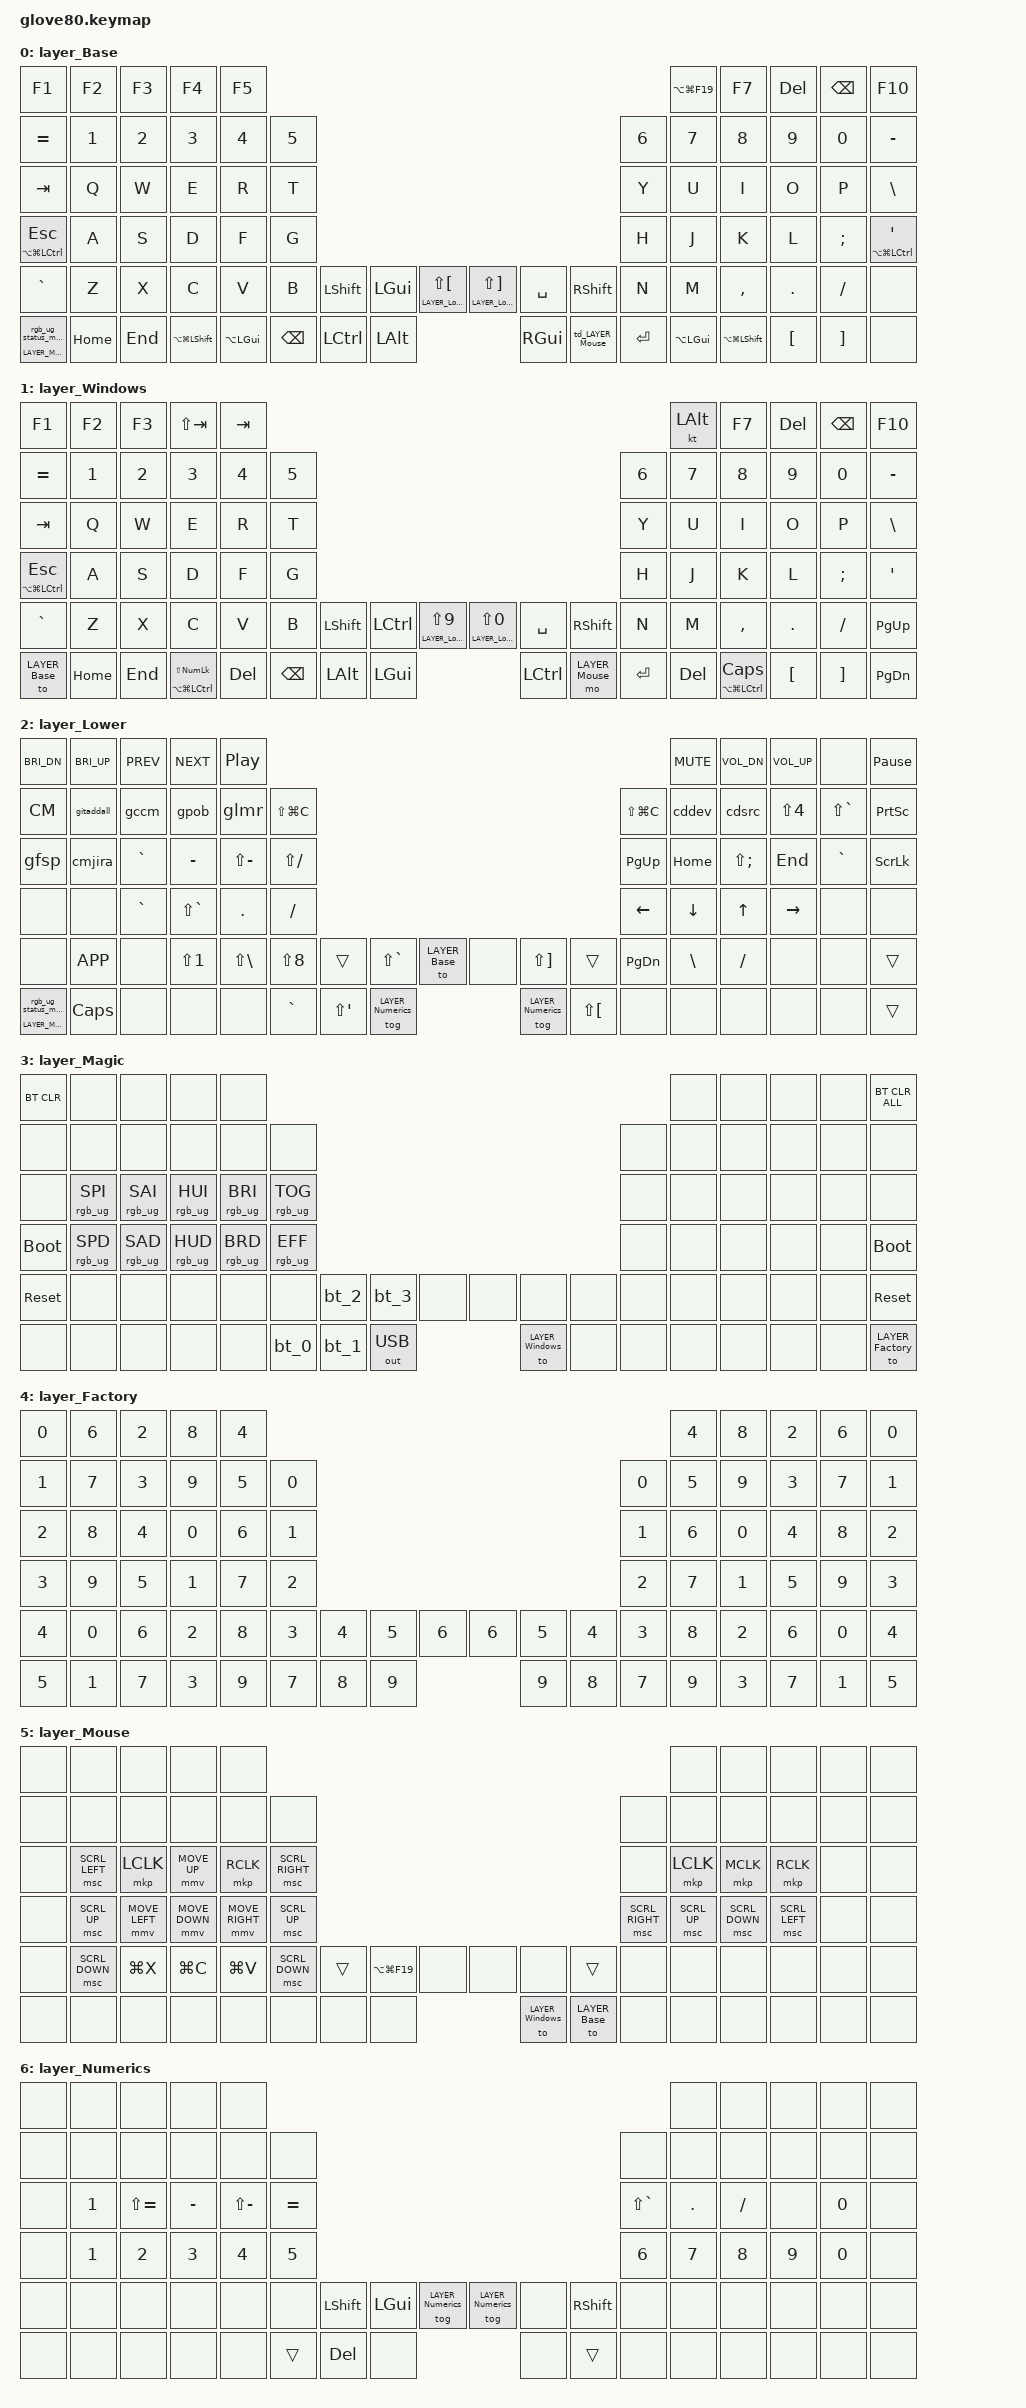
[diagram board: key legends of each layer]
/*
 * Copyright (c) 2020 The ZMK Contributors
 * Copyright (c) 2023 Innaworks Development Limited, trading as MoErgo
 *
 * SPDX-License-Identifier: MIT
 */

/* THIS FILE WAS GENERATED BY GLOVE80 LAYOUT EDITOR
 *
 * This file was generated automatically. You may or may not want to
 * edit it directly.
 */

#include <behaviors.dtsi>
/* Include all behavior includes needed */
#include <dt-bindings/zmk/outputs.h>
#include <dt-bindings/zmk/keys.h>
#include <dt-bindings/zmk/bt.h>
#include <dt-bindings/zmk/rgb.h>

#include <dt-bindings/zmk/rgb_colors.h>
/* On demand includes */
#include <dt-bindings/zmk/pointing.h>

// Preprocessor mechanism to overload macros, cf. https://stackoverflow.com/a/27051616/6114651
#define VARGS_(_10, _9, _8, _7, _6, _5, _4, _3, _2, _1, N, ...) N
#define VARGS(...) VARGS_(__VA_ARGS__, 10, 9, 8, 7, 6, 5, 4, 3, 2, 1, 0)
#define CONCAT_(a, b) a##b
#define CONCAT(a, b) CONCAT_(a, b)

#define ZMK_BEHAVIOR_CORE_tap_dance  \
    compatible = "zmk,behavior-tap-dance"; \
    #binding-cells = <0>

#define ZMK_BEHAVIOR(name, type, ...) \
    name: name { \
        ZMK_BEHAVIOR_CORE_ ## type; \
        __VA_ARGS__ \
    };

#define ZMK_TAP_DANCE(name, ...) \
    ZMK_BEHAVIOR(name, tap_dance, __VA_ARGS__)

#define ZMK_TD_LAYER(name, layer) \
    ZMK_TAP_DANCE(name, \
        tapping-term-ms = <200>; \
        bindings = <&mo layer>, <&to layer>; \
)

/* Environment and metadata defines */
#define KB_TYPE_GLOVE_80 1
#define KB_TYPE_GO_60    2

#define KB_TYPE          KB_TYPE_GLOVE_80
#define EDITOR_HOST_OS   'M'

/* Automatically generated layer name #define */
#define LAYER_Base 0
#define LAYER_Windows 1
#define LAYER_Lower 2
#define LAYER_Magic 3
#define LAYER_Factory 4
#define LAYER_Mouse 5
#define LAYER_Numerics 6

/* To deal with the situation where there is no Lower layer, to keep &lower happy */
#ifndef LAYER_Lower
#define LAYER_Lower 0
#endif

/* Custom Device-tree */
/* Empty underglow layer definition (for copy-paste)
        mylayer {
            bindings = <
                &ug ___ &ug ___ &ug ___ &ug ___ &ug ___                                                                  &ug ___ &ug ___ &ug ___ &ug ___ &ug ___
                &ug ___ &ug ___ &ug ___ &ug ___ &ug ___ &ug ___                                                  &ug ___ &ug ___ &ug ___ &ug ___ &ug ___ &ug ___
                &ug ___ &ug ___ &ug ___ &ug ___ &ug ___ &ug ___                                                  &ug ___ &ug ___ &ug ___ &ug ___ &ug ___ &ug ___
                &ug ___ &ug ___ &ug ___ &ug ___ &ug ___ &ug ___                                                  &ug ___ &ug ___ &ug ___ &ug ___ &ug ___ &ug ___
                &ug ___ &ug ___ &ug ___ &ug ___ &ug ___ &ug ___ &ug ___ &ug ___ &ug ___  &ug ___ &ug ___ &ug ___ &ug ___ &ug ___ &ug ___ &ug ___ &ug ___ &ug ___
                &ug ___ &ug ___ &ug ___ &ug ___ &ug ___         &ug ___ &ug ___ &ug ___  &ug ___ &ug ___ &ug ___         &ug ___ &ug ___ &ug ___ &ug ___ &ug ___
                >;
            layer-id = <LAYER_Name>;
        };
*/

#define LBAT &uglowbat 0x800000 BLACK // #800000
#define BAT1 &ug_b2 BLACK 0x804d00 // #808000
#define BAT2 &ug_b4 BLACK 0x808000 // #804d00
#define BAT3 &ug_b6 BLACK 0x008000 // #008000
#define BAT4 &ug_b8 BLACK 0xafafaf // #afafaf
#define CAPSL &ug_cl ___ TEAL
#define NUMI  &ug_nl WHITE ORANGE
#define NUML  &ug_nl RED YELLOW

/ {
    underglow-layer {
        compatible  = "zmk,underglow-layer";

        base {
            bindings = <
    &ug GREEN &ug GREEN &ug GREEN &ug GREEN  &ug GREEN                                                &ug GREEN  &ug GREEN  &ug GREEN  &ug GREEN  &ug GREEN
    &ug ___ CAPSL   CAPSL    CAPSL    CAPSL    CAPSL                                                  CAPSL  CAPSL    CAPSL    CAPSL    CAPSL    &ug ___
    &ug ___ CAPSL   CAPSL    CAPSL    CAPSL    CAPSL                                                  CAPSL  CAPSL    CAPSL    CAPSL    &ug ___  &ug ___
    &ug ___ CAPSL   CAPSL    CAPSL    CAPSL    CAPSL                                                  CAPSL  CAPSL    CAPSL    CAPSL    CAPSL    &ug ___
    &ug ___ CAPSL   CAPSL    CAPSL    CAPSL    CAPSL &ug ___ &ug ___ &ug ___  &ug ___ &ug ___ &ug ___ CAPSL  CAPSL    &ug ___  &ug ___  &ug ___  &ug ___
    LBAT    &ug ___ &ug ___  &ug ___  &ug ___        &ug ___ &ug ___ &ug ___  &ug ___ &ug ___ &ug ___        &ug ___  &ug ___  &ug ___  &ug ___  LBAT
                >;
            layer-id = <LAYER_Base>;
        };

        lower {
            bindings = <
    &ug YELLOW    &ug YELLOW  &ug BLUE    &ug BLUE    &ug BLUE                                                                    &ug YELLOW  &ug YELLOW     &ug YELLOW    &ug BLUE     &ug BLUE
    &ug GOLD &ug GOLD &ug GOLD   &ug   GOLD &ug   GOLD &ug RED                                                             &ug RED &ug ___  &ug ORANGE  &ug ORANGE &ug ORANGE  &ug RED
    &ug GOLD &ug ___  &ug PURPLE    &ug PURPLE &ug PURPLE    &ug PURPLE                                                              &ug PURPLE &ug RED     &ug PURPLE        &ug RED       &ug PURPLE  &ug ___
    &ug PURPLE &ug ___  &ug PURPLE &ug    PURPLE &ug PURPLE &ug PURPLE                                                              &ug RED &ug RED     &ug RED        &ug RED       &ug PURPLE  &ug ___
    &ug   BLUE &ug YELLOW  &ug RED    &ug    PURPLE &ug    PURPLE &ug PURPLE  &ug RED &ug PURPLE   &ug GREEN  &ug ___ &ug PURPLE &ug ___ &ug PURPLE &ug PURPLE     &ug PURPLE        &ug ___       &ug    RED  &ug BLUE
    &ug YELLOW    &ug YELLOW  &ug ORANGE &ug ORANGE &ug ORANGE          &ug PURPLE          &ug PURPLE &ug GREEN  &ug GREEN &ug PURPLE &ug ___         &ug ___     &ug ___        &ug ORANGE &ug    RED  &ug RED
                >;
            layer-id = <LAYER_Lower>;
        };

        numerics {
            bindings = <
                &ug PINK  &ug PINK  &ug PINK &ug PINK  &ug PINK                                                        &ug PINK  &ug PINK  &ug PINK  &ug PINK  &ug PINK
                &ug ___  &ug ___  &ug ___ &ug ___  &ug ___  &ug ___                                                    &ug PINK &ug PINK &ug PINK &ug PINK &ug PINK &ug ___
                &ug ___  &ug BLUE &ug ___ &ug BLUE &ug BLUE &ug BLUE                                                   &ug ___  &ug ___  &ug ___  &ug ___  &ug ___  &ug BLUE
                &ug ___  &ug BLUE &ug ___ &ug ___  &ug ___  &ug BLUE                                                   &ug ___  &ug ___  &ug ___  &ug ___  &ug ___  &ug ___
                &ug BLUE &ug ___  &ug ___ &ug ___  &ug ___  &ug ___ &ug ___ &ug ___ &ug ___  &ug ___ &ug ___   &ug ___ &ug ___  &ug ___  &ug ___  &ug ___  &ug ___  &ug BLUE
                &ug ___  &ug ___  &ug ___ &ug ___  &ug ___          &ug ___ &ug ___ &ug ___  &ug ___ &ug GREEN &ug ___          &ug ___  &ug ___  &ug ___  &ug ___  &ug ___
                >;
            layer-id = <LAYER_Numerics>;
        };

        mouse {
            bindings = <
                &ug ORANGE &ug ORANGE  &ug ORANGE &ug ORANGE &ug ORANGE                                                 &ug ORANGE &ug ORANGE &ug ORANGE &ug ORANGE &ug ORANGE
                &ug ___ &ug ___  &ug ___ &ug ___ &ug ___ &ug ___                                                        &ug ___ &ug ___ &ug ___ &ug ___ &ug ___ &ug ___
                &ug ___ &ug BLUE  &ug GREEN &ug RED &ug GREEN &ug BLUE                                                        &ug ___ &ug GREEN &ug GREEN &ug GREEN &ug ___ &ug ___
                &ug ___ &ug BLUE &ug RED &ug RED &ug RED &ug BLUE                                                        &ug BLUE &ug BLUE &ug BLUE &ug BLUE &ug ___ &ug ___
                &ug ___ &ug BLUE &ug YELLOW &ug YELLOW &ug YELLOW &ug BLUE &ug ___ &ug RED &ug ___    &ug ___ &ug ___ &ug ___ &ug ___ &ug ___ &ug ___ &ug ___ &ug ___ &ug ___
                &ug ___ &ug BLUE &ug ___ &ug ___ &ug ___         &ug ___    &ug ___  &ug ___  &ug RED &ug GREEN &ug ___         &ug ___ &ug ___ &ug ___ &ug ___ &ug ___
                >;
            layer-id = <LAYER_Mouse>;
        };

        windows {
            bindings = <
    &ug RED &ug RED &ug RED &ug RED  &ug RED                                                &ug RED  &ug RED  &ug RED  &ug RED  &ug RED
    &ug ___ CAPSL   CAPSL    CAPSL    CAPSL    CAPSL                                                  CAPSL  CAPSL    CAPSL    CAPSL    CAPSL    &ug ___
    &ug ___ CAPSL   CAPSL    CAPSL    CAPSL    CAPSL                                                  CAPSL  CAPSL    CAPSL    CAPSL    &ug ___  &ug ___
    &ug ___ CAPSL   CAPSL    CAPSL    CAPSL    CAPSL                                                  CAPSL  CAPSL    CAPSL    CAPSL    CAPSL    &ug ___
    &ug ___ CAPSL   CAPSL    CAPSL    CAPSL    CAPSL &ug ___ &ug ___ &ug ___  &ug ___ &ug ___ &ug ___ CAPSL  CAPSL    &ug ___  &ug ___  &ug ___  &ug ___
    LBAT    &ug ___ &ug ___  &ug ___  &ug ___        &ug ___ &ug ___ &ug ___  &ug ___ &ug ___ &ug ___        &ug ___  &ug ___  &ug ___  &ug ___  LBAT
                >;
            layer-id = <LAYER_Windows>;
        };
    };
};

/* Glove80 system behavior & macros */
/ {
    behaviors {
        // For the "layer" key, it'd nice to be able to use it as either a shift or a toggle.
        // Configure it as a tap dance, so the first tap (or hold) is a &mo and the second tap is a &to
        lower: lower {
            compatible = "zmk,behavior-tap-dance";
            label = "LAYER_TAP_DANCE";
            #binding-cells = <0>;
            tapping-term-ms = <200>;
            bindings = <&mo LAYER_Lower>, <&to LAYER_Lower>;
        };
        uglowbat: uglowbat {
            compatible = "zmk,behavior-underglow-battery";
            threshold = <30>;
            #binding-cells = <2>;
        };
    };
};

/ {
    macros {
        rgb_ug_status_macro: rgb_ug_status_macro {
            label = "RGB_UG_STATUS";
            compatible = "zmk,behavior-macro";
            #binding-cells = <0>;
            bindings
                = <&rgb_ug RGB_STATUS>;
        };
    };
};

/ {
#ifdef BT_DISC_CMD
    behaviors {
        bt_0: bt_0 {
            compatible = "zmk,behavior-tap-dance";
            label = "BT_0";
            #binding-cells = <0>;
            tapping-term-ms = <200>;
            bindings = <&bt_select_0>, <&bt BT_DISC 0>;
        };
        bt_1: bt_1 {
            compatible = "zmk,behavior-tap-dance";
            label = "BT_1";
            #binding-cells = <0>;
            tapping-term-ms = <200>;
            bindings = <&bt_select_1>, <&bt BT_DISC 1>;
        };
        bt_2: bt_2 {
            compatible = "zmk,behavior-tap-dance";
            label = "BT_2";
            #binding-cells = <0>;
            tapping-term-ms = <200>;
            bindings = <&bt_select_2>, <&bt BT_DISC 2>;
        };
        bt_3: bt_3 {
            compatible = "zmk,behavior-tap-dance";
            label = "BT_3";
            #binding-cells = <0>;
            tapping-term-ms = <200>;
            bindings = <&bt_select_3>, <&bt BT_DISC 3>;
        };
    };
    macros {
        bt_select_0: bt_select_0 {
            label = "BT_SELECT_0";
            compatible = "zmk,behavior-macro";
            #binding-cells = <0>;
            bindings
                = <&out OUT_BLE>,
                  <&bt BT_SEL 0>;
        };
        bt_select_1: bt_select_1 {
            label = "BT_SELECT_1";
            compatible = "zmk,behavior-macro";
            #binding-cells = <0>;
            bindings
                = <&out OUT_BLE>,
                  <&bt BT_SEL 1>;
        };
        bt_select_2: bt_select_2 {
            label = "BT_SELECT_2";
            compatible = "zmk,behavior-macro";
            #binding-cells = <0>;
            bindings
                = <&out OUT_BLE>,
                  <&bt BT_SEL 2>;
        };
        bt_select_3: bt_select_3 {
            label = "BT_SELECT_3";
            compatible = "zmk,behavior-macro";
            #binding-cells = <0>;
            bindings
                = <&out OUT_BLE>,
                  <&bt BT_SEL 3>;
        };
    };
#else
    macros {
        bt_0: bt_0 {
            label = "BT_0";
            compatible = "zmk,behavior-macro";
            #binding-cells = <0>;
            bindings
                = <&out OUT_BLE>,
                  <&bt BT_SEL 0>;
        };
        bt_1: bt_1 {
            label = "BT_1";
            compatible = "zmk,behavior-macro";
            #binding-cells = <0>;
            bindings
                = <&out OUT_BLE>,
                  <&bt BT_SEL 1>;
        };
        bt_2: bt_2 {
            label = "BT_2";
            compatible = "zmk,behavior-macro";
            #binding-cells = <0>;
            bindings
                = <&out OUT_BLE>,
                  <&bt BT_SEL 2>;
        };
        bt_3: bt_3 {
            label = "BT_3";
            compatible = "zmk,behavior-macro";
            #binding-cells = <0>;
            bindings
                = <&out OUT_BLE>,
                  <&bt BT_SEL 3>;
        };
    };
#endif
};

/ {
    behaviors {
        magic: magic {
            compatible = "zmk,behavior-hold-tap";
            label = "MAGIC_HOLD_TAP";
            #binding-cells = <2>;
            flavor = "tap-preferred";
            tapping-term-ms = <200>;
            bindings = <&mo>, <&rgb_ug_status_macro>;
        };
    };
};

/* #define for key positions */

#define POS_LH_C6R1 0
#define POS_LH_C5R1 1
#define POS_LH_C4R1 2
#define POS_LH_C3R1 3
#define POS_LH_C2R1 4
#define POS_RH_C2R1 5
#define POS_RH_C3R1 6
#define POS_RH_C4R1 7
#define POS_RH_C5R1 8
#define POS_RH_C6R1 9
#define POS_LH_C6R2 10
#define POS_LH_C5R2 11
#define POS_LH_C4R2 12
#define POS_LH_C3R2 13
#define POS_LH_C2R2 14
#define POS_LH_C1R2 15
#define POS_RH_C1R2 16
#define POS_RH_C2R2 17
#define POS_RH_C3R2 18
#define POS_RH_C4R2 19
#define POS_RH_C5R2 20
#define POS_RH_C6R2 21
#define POS_LH_C6R3 22
#define POS_LH_C5R3 23
#define POS_LH_C4R3 24
#define POS_LH_C3R3 25
#define POS_LH_C2R3 26
#define POS_LH_C1R3 27
#define POS_RH_C1R3 28
#define POS_RH_C2R3 29
#define POS_RH_C3R3 30
#define POS_RH_C4R3 31
#define POS_RH_C5R3 32
#define POS_RH_C6R3 33
#define POS_LH_C6R4 34
#define POS_LH_C5R4 35
#define POS_LH_C4R4 36
#define POS_LH_C3R4 37
#define POS_LH_C2R4 38
#define POS_LH_C1R4 39
#define POS_RH_C1R4 40
#define POS_RH_C2R4 41
#define POS_RH_C3R4 42
#define POS_RH_C4R4 43
#define POS_RH_C5R4 44
#define POS_RH_C6R4 45
#define POS_LH_C6R5 46
#define POS_LH_C5R5 47
#define POS_LH_C4R5 48
#define POS_LH_C3R5 49
#define POS_LH_C2R5 50
#define POS_LH_C1R5 51
#define POS_LH_T1 52
#define POS_LH_T2 53
#define POS_LH_T3 54
#define POS_RH_T3 55
#define POS_RH_T2 56
#define POS_RH_T1 57
#define POS_RH_C1R5 58
#define POS_RH_C2R5 59
#define POS_RH_C3R5 60
#define POS_RH_C4R5 61
#define POS_RH_C5R5 62
#define POS_RH_C6R5 63
#define POS_LH_C6R6 64
#define POS_LH_C5R6 65
#define POS_LH_C4R6 66
#define POS_LH_C3R6 67
#define POS_LH_C2R6 68
#define POS_LH_T4 69
#define POS_LH_T5 70
#define POS_LH_T6 71
#define POS_RH_T6 72
#define POS_RH_T5 73
#define POS_RH_T4 74
#define POS_RH_C2R6 75
#define POS_RH_C3R6 76
#define POS_RH_C4R6 77
#define POS_RH_C5R6 78
#define POS_RH_C6R6 79

/* Custom Defined Behaviors */
/ {

};

/* Generated input processors */

/* Automatically generated macro definitions */
/ {
    macros {

        // git fetch, git status, git pull
        gfsp: gfsp {
            label = "&GFSP";
            compatible = "zmk,behavior-macro";
            #binding-cells = <0>;
            bindings = <&kp G>
                , <&kp F>
                , <&kp S>
                , <&kp P>;
        };

        // Commit Message
        CM: CM {
            label = "&CM";
            compatible = "zmk,behavior-macro";
            #binding-cells = <0>;
            bindings = <&kp LS(C)>
                , <&kp LS(M)>
                , <&kp EQUAL>
                , <&kp LS(N4)>
                , <&kp LS(N9)>
                , <&kp S>
                , <&kp E>
                , <&kp T>
                , <&kp MINUS>
                , <&kp C>
                , <&kp M>
                , <&kp SPACE>
                , <&kp LS(SQT)>
                , <&kp LS(SQT)>
                , <&kp SPACE>
                , <&kp LS(SQT)>
                , <&kp LS(SQT)>
                , <&kp LS(N0)>
                , <&kp LEFT_ARROW>
                , <&kp LEFT_ARROW>
                , <&kp LEFT_ARROW>
                , <&kp LEFT_ARROW>
                , <&kp LEFT_ARROW>;
        };

        // git add all
        gitaddall: gitaddall {
            label = "&GITADDALL";
            compatible = "zmk,behavior-macro";
            #binding-cells = <0>;
            bindings = <&kp G>
                , <&kp I>
                , <&kp T>
                , <&kp SPACE>
                , <&kp A>
                , <&kp D>
                , <&kp D>
                , <&kp SPACE>
                , <&kp MINUS>
                , <&kp LS(A)>;
        };

        // git commit
        gccm: gccm {
            label = "&GCCM";
            compatible = "zmk,behavior-macro";
            #binding-cells = <0>;
            bindings = <&kp G>
                , <&kp C>
                , <&kp C>
                , <&kp M>;
        };

        // git push origin branch
        gpob: gpob {
            label = "&GPOB";
            compatible = "zmk,behavior-macro";
            #binding-cells = <0>;
            bindings = <&kp G>
                , <&kp P>
                , <&kp O>
                , <&kp B>;
        };

        // gitlab mr
        glmr: glmr {
            label = "&GLMR";
            compatible = "zmk,behavior-macro";
            #binding-cells = <0>;
            bindings = <&kp G>
                , <&kp L>
                , <&kp M>
                , <&kp R>;
        };

        // Change to dev dir
        cddev: cddev {
            label = "&CDDEV";
            compatible = "zmk,behavior-macro";
            #binding-cells = <0>;
            bindings = <&kp C>
                , <&kp D>
                , <&kp SPACE>
                , <&kp LS(GRAVE)>
                , <&kp FSLH>
                , <&kp D>
                , <&kp E>
                , <&kp V>
                , <&kp FSLH>;
        };

        // Change to dev dir
        cdsrc: cdsrc {
            label = "&CDSRC";
            compatible = "zmk,behavior-macro";
            #binding-cells = <0>;
            bindings = <&kp C>
                , <&kp D>
                , <&kp SPACE>
                , <&kp LS(GRAVE)>
                , <&kp FSLH>
                , <&kp S>
                , <&kp R>
                , <&kp C>
                , <&kp FSLH>;
        };

        // Set CM using Jira
        cmjira: cmjira {
            label = "&CMJIRA";
            compatible = "zmk,behavior-macro";
            #binding-cells = <0>;
            bindings = <&kp LS(C)>
                , <&kp LS(M)>
                , <&kp EQUAL>
                , <&kp LS(N4)>
                , <&kp LS(N9)>
                , <&kp J>
                , <&kp I>
                , <&kp R>
                , <&kp A>
                , <&kp MINUS>
                , <&kp C>
                , <&kp M>
                , <&kp LS(N0)>
                , <&kp SEMI>
                , <&kp SPACE>
                , <&kp E>
                , <&kp C>
                , <&kp H>
                , <&kp O>
                , <&kp SPACE>
                , <&kp LS(N4)>
                , <&kp LS(LBKT)>
                , <&kp LS(C)>
                , <&kp LS(M)>
                , <&kp LS(RBKT)>;
        };
    };
};

/* Automatically generated behavior definitions */
/ {
    behaviors {

        ZMK_TD_LAYER(td_LAYER_Mouse, 5)
        EscapeAndHyper: EscapeAndHyper {
            compatible = "zmk,behavior-hold-tap";
            #binding-cells = <2>;
            tapping-term-ms = <200>;
            bindings = <&kp>, <&kp>;
            flavor = "tap-preferred";
        };
        ShiftAndParens: ShiftAndParens {
            compatible = "zmk,behavior-hold-tap";
            #binding-cells = <2>;
            tapping-term-ms = <200>;
            bindings = <&kp>, <&kp>;
        };
        // Momentary Layer on Hold Keypress on Tap
        LayerAndKeypress: LayerAndKeypress {
            compatible = "zmk,behavior-hold-tap";
            #binding-cells = <2>;
            tapping-term-ms = <200>;
            bindings = <&mo>, <&kp>;
            flavor = "tap-preferred";
        };
    };
};

/* Automatically generated macro definitions */
/ {
    macros {

    };
};

/* Automatically generated keymap */
/ {
    keymap {
        compatible = "zmk,keymap";


        layer_Base {
            bindings = <
                            &kp F1    &kp F2   &kp F3             &kp F4        &kp F5                                                                                                                                                    &kp LA(LG(F19))             &kp F7   &kp DEL  &kp BSPC                            &kp F10
                         &kp EQUAL    &kp N1   &kp N2             &kp N3        &kp N4  &kp N5                                                                                                                                    &kp N6           &kp N7             &kp N8    &kp N9    &kp N0                          &kp MINUS
                           &kp TAB     &kp Q    &kp W              &kp E         &kp R   &kp T                                                                                                                                     &kp Y            &kp U              &kp I     &kp O     &kp P                           &kp BSLH
 &EscapeAndHyper LA(LG(LCTRL)) ESC     &kp A    &kp S              &kp D         &kp F   &kp G                                                                                                                                     &kp H            &kp J              &kp K     &kp L  &kp SEMI  &EscapeAndHyper LA(LG(LCTRL)) SQT
                         &kp GRAVE     &kp Z    &kp X              &kp C         &kp V   &kp B  &kp LSHFT   &kp LGUI  &LayerAndKeypress LAYER_Lower LS(LBKT)  &LayerAndKeypress LAYER_Lower LS(RBKT)        &kp SPACE  &kp RSHFT   &kp N            &kp M          &kp COMMA   &kp DOT  &kp FSLH                              &none
              &magic LAYER_Magic 0  &kp HOME  &kp END  &kp LA(LG(LSHFT))  &kp LA(LGUI)           &kp BSPC  &kp LCTRL                                &kp LALT                                &kp RGUI  &td_LAYER_Mouse    &kp RET             &kp LA(LGUI)  &kp LA(LG(LSHFT))  &kp LBKT  &kp RBKT                              &none
            >;
        };

        layer_Windows {
            bindings = <
                            &kp F1    &kp F2   &kp F3                               &kp LS(TAB)  &kp TAB                                                                                                                                                &kt LALT                              &kp F7   &kp DEL  &kp BSPC    &kp F10
                         &kp EQUAL    &kp N1   &kp N2                                    &kp N3   &kp N4  &kp N5                                                                                                                                &kp N6    &kp N7                              &kp N8    &kp N9    &kp N0  &kp MINUS
                           &kp TAB     &kp Q    &kp W                                     &kp E    &kp R   &kp T                                                                                                                                 &kp Y     &kp U                               &kp I     &kp O     &kp P   &kp BSLH
 &EscapeAndHyper LA(LG(LCTRL)) ESC     &kp A    &kp S                                     &kp D    &kp F   &kp G                                                                                                                                 &kp H     &kp J                               &kp K     &kp L  &kp SEMI    &kp SQT
                         &kp GRAVE     &kp Z    &kp X                                     &kp C    &kp V   &kp B  &kp LSHFT  &kp LCTRL  &LayerAndKeypress LAYER_Lower LS(N9)  &LayerAndKeypress LAYER_Lower LS(N0)        &kp SPACE  &kp RSHFT   &kp N     &kp M                           &kp COMMA   &kp DOT  &kp FSLH  &kp PG_UP
                    &to LAYER_Base  &kp HOME  &kp END  &EscapeAndHyper LA(LG(LCTRL)) LS(KP_NUM)  &kp DEL           &kp BSPC   &kp LALT                              &kp LGUI                             &kp LCTRL  &mo LAYER_Mouse    &kp RET           &kp DEL  &EscapeAndHyper LA(LG(LCTRL)) CAPS  &kp LBKT  &kp RBKT  &kp PG_DN
            >;
        };

        layer_Lower {
            bindings = <
         &kp C_BRI_DN  &kp C_BRI_UP  &kp C_PREV     &kp C_NEXT       &kp C_PP                                                                                                                               &kp C_MUTE  &kp C_VOL_DN     &kp C_VOL_UP          &none  &kp PAUSE_BREAK
                  &CM    &gitaddall       &gccm          &gpob          &glmr  &kp LS(LG(C))                                                                                             &kp LS(LG(C))          &cddev        &cdsrc       &kp LS(N4)  &kp LS(GRAVE)  &kp PRINTSCREEN
                &gfsp       &cmjira   &kp GRAVE      &kp MINUS  &kp LS(MINUS)   &kp LS(FSLH)                                                                                                 &kp PG_UP        &kp HOME  &kp LS(SEMI)          &kp END      &kp GRAVE   &kp SCROLLLOCK
                &none         &none   &kp GRAVE  &kp LS(GRAVE)        &kp DOT       &kp FSLH                                                                                            &kp LEFT_ARROW  &kp DOWN_ARROW  &kp UP_ARROW  &kp RIGHT_ARROW          &none            &none
                &none     &kp K_APP       &none     &kp LS(N1)   &kp LS(BSLH)     &kp LS(N8)     &trans  &kp LS(GRAVE)       &to LAYER_Base                &none  &kp LS(RBKT)  &trans       &kp PG_DN        &kp BSLH      &kp FSLH            &none          &none           &trans
 &magic LAYER_Magic 0      &kp CAPS       &none          &none          &none                 &kp GRAVE    &kp LS(SQT)  &tog LAYER_Numerics  &tog LAYER_Numerics  &kp LS(LBKT)   &none                           &none         &none            &none          &none           &trans
            >;
        };

        layer_Magic {
            bindings = <
  &bt BT_CLR            &none            &none            &none            &none                                                                                             &none   &none   &none   &none     &bt BT_CLR_ALL
       &none            &none            &none            &none            &none            &none                                                                    &none   &none   &none   &none   &none              &none
       &none  &rgb_ug RGB_SPI  &rgb_ug RGB_SAI  &rgb_ug RGB_HUI  &rgb_ug RGB_BRI  &rgb_ug RGB_TOG                                                                    &none   &none   &none   &none   &none              &none
 &bootloader  &rgb_ug RGB_SPD  &rgb_ug RGB_SAD  &rgb_ug RGB_HUD  &rgb_ug RGB_BRD  &rgb_ug RGB_EFF                                                                    &none   &none   &none   &none   &none        &bootloader
  &sys_reset            &none            &none            &none            &none            &none   &bt_2   &bt_3         &none              &none   &none   &none   &none   &none   &none   &none   &none         &sys_reset
       &none            &none            &none            &none            &none                    &bt_0   &bt_1  &out OUT_USB  &to LAYER_Windows   &none   &none           &none   &none   &none   &none  &to LAYER_Factory
            >;
        };

        layer_Factory {
            bindings = <
 &kp NUMBER_0  &kp NUMBER_6  &kp NUMBER_2  &kp NUMBER_8  &kp NUMBER_4                                                                                                                  &kp NUMBER_4  &kp NUMBER_8  &kp NUMBER_2  &kp NUMBER_6  &kp NUMBER_0
 &kp NUMBER_1  &kp NUMBER_7  &kp NUMBER_3  &kp NUMBER_9  &kp NUMBER_5  &kp NUMBER_0                                                                                      &kp NUMBER_0  &kp NUMBER_5  &kp NUMBER_9  &kp NUMBER_3  &kp NUMBER_7  &kp NUMBER_1
 &kp NUMBER_2  &kp NUMBER_8  &kp NUMBER_4  &kp NUMBER_0  &kp NUMBER_6  &kp NUMBER_1                                                                                      &kp NUMBER_1  &kp NUMBER_6  &kp NUMBER_0  &kp NUMBER_4  &kp NUMBER_8  &kp NUMBER_2
 &kp NUMBER_3  &kp NUMBER_9  &kp NUMBER_5  &kp NUMBER_1  &kp NUMBER_7  &kp NUMBER_2                                                                                      &kp NUMBER_2  &kp NUMBER_7  &kp NUMBER_1  &kp NUMBER_5  &kp NUMBER_9  &kp NUMBER_3
 &kp NUMBER_4  &kp NUMBER_0  &kp NUMBER_6  &kp NUMBER_2  &kp NUMBER_8  &kp NUMBER_3  &kp NUMBER_4  &kp NUMBER_5  &kp NUMBER_6  &kp NUMBER_6  &kp NUMBER_5  &kp NUMBER_4  &kp NUMBER_3  &kp NUMBER_8  &kp NUMBER_2  &kp NUMBER_6  &kp NUMBER_0  &kp NUMBER_4
 &kp NUMBER_5  &kp NUMBER_1  &kp NUMBER_7  &kp NUMBER_3  &kp NUMBER_9                &kp NUMBER_7  &kp NUMBER_8  &kp NUMBER_9  &kp NUMBER_9  &kp NUMBER_8  &kp NUMBER_7                &kp NUMBER_9  &kp NUMBER_3  &kp NUMBER_7  &kp NUMBER_1  &kp NUMBER_5
            >;
        };

        layer_Mouse {
            bindings = <
  &none           &none           &none           &none            &none                                                                                                                       &none           &none           &none   &none   &none
  &none           &none           &none           &none            &none            &none                                                                                        &none         &none           &none           &none   &none   &none
  &none  &msc SCRL_LEFT       &mkp LCLK    &mmv MOVE_UP        &mkp RCLK  &msc SCRL_RIGHT                                                                                        &none     &mkp LCLK       &mkp MCLK       &mkp RCLK   &none   &none
  &none    &msc SCRL_UP  &mmv MOVE_LEFT  &mmv MOVE_DOWN  &mmv MOVE_RIGHT     &msc SCRL_UP                                                                              &msc SCRL_RIGHT  &msc SCRL_UP  &msc SCRL_DOWN  &msc SCRL_LEFT   &none   &none
  &none  &msc SCRL_DOWN       &kp LG(X)       &kp LG(C)        &kp LG(V)   &msc SCRL_DOWN  &trans  &kp LA(LG(F19))   &none              &none           &none  &trans            &none         &none           &none           &none   &none   &none
  &none           &none           &none           &none            &none                    &none            &none   &none  &to LAYER_Windows  &to LAYER_Base   &none                          &none           &none           &none   &none   &none
            >;
        };

        layer_Numerics {
            bindings = <
  &none   &none          &none      &none          &none                                                                                                                &none     &none   &none   &none   &none
  &none   &none          &none      &none          &none      &none                                                                                            &none    &none     &none   &none   &none   &none
  &none  &kp N1  &kp LS(EQUAL)  &kp MINUS  &kp LS(MINUS)  &kp EQUAL                                                                                    &kp LS(GRAVE)  &kp DOT  &kp FSLH   &none  &kp N0   &none
  &none  &kp N1         &kp N2     &kp N3         &kp N4     &kp N5                                                                                           &kp N6   &kp N7    &kp N8  &kp N9  &kp N0   &none
  &none   &none          &none      &none          &none      &none  &kp LSHFT  &kp LGUI  &tog LAYER_Numerics  &tog LAYER_Numerics   &none  &kp RSHFT          &none    &none     &none   &none   &none   &none
  &none   &none          &none      &none          &none                &trans   &kp DEL                &none                &none  &trans      &none                   &none     &none   &none   &none   &none
            >;
        };

    };
};

